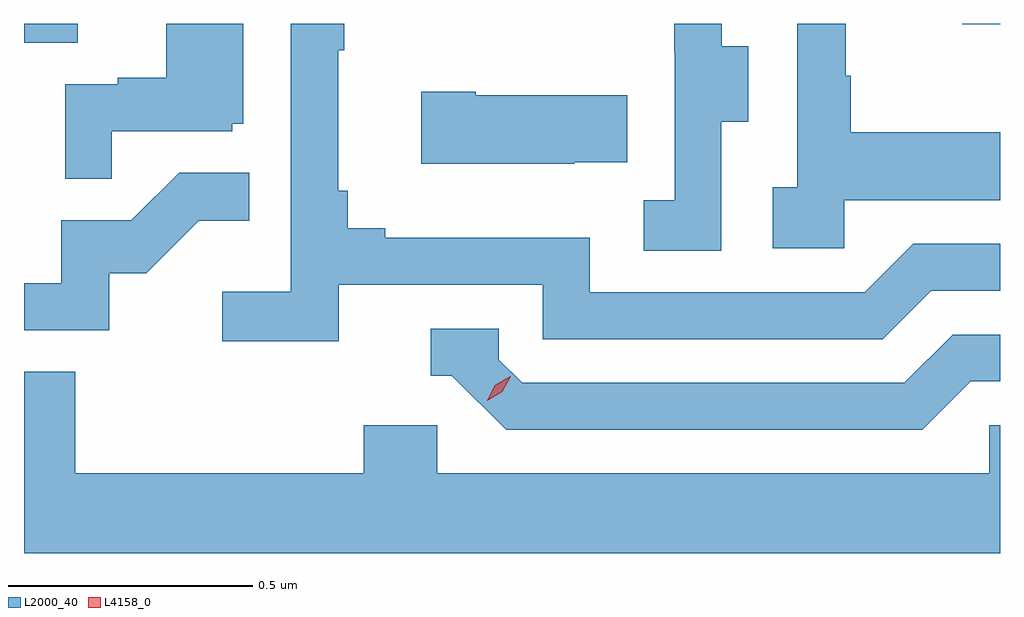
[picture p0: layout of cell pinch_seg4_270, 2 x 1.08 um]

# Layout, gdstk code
import gdstk
lib = gdstk.Library(unit=1e-6, precision=1e-09)
def R(c, l, rs):  # rectangles x0, y0, x1, y1
    for r in rs: c.add(gdstk.rectangle(r[:2], r[2:], *l))
def P(c, l, *ps):  # polygons
    for p in ps: c.add(gdstk.Polygon(p, *l))
L2000_40 = (2000, 40)
L4158_0 = (4158, 0)

pinch_seg4_270 = lib.new_cell('pinch_seg4_270')
R(pinch_seg4_270, L2000_40, [(934.061,829.834,934.171,829.873), (935.984,829.872,936.061,829.873)])
P(pinch_seg4_270, L2000_40, [(934.706,829.338),(935.124,829.338),(935.124,829.227),(935.821,829.227),(935.92,829.326),(936.061,829.326),(936.061,829.422),(935.883,829.422),(935.784,829.323),(935.22,829.323),(935.22,829.435),(934.801,829.435),(934.801,829.454),(934.724,829.454),(934.724,829.531),(934.705,829.531),(934.705,829.819),(934.717,829.819),(934.717,829.873),(934.608,829.873),(934.608,829.324),(934.467,829.324),(934.467,829.222),(934.706,829.222)],
  [(934.241,829.653),(934.488,829.653),(934.488,829.668),(934.51,829.668),(934.51,829.873),(934.352,829.873),(934.352,829.762),(934.253,829.762),(934.253,829.749),(934.146,829.749),(934.146,829.555),(934.241,829.555)],
  [(935.742,829.511),(936.061,829.511),(936.061,829.651),(935.755,829.651),(935.755,829.766),(935.745,829.766),(935.745,829.873),(935.646,829.873),(935.646,829.538),(935.595,829.538),(935.595,829.413),(935.742,829.413)],
  [(935.49,829.672),(935.545,829.672),(935.545,829.827),(935.491,829.827),(935.491,829.873),(935.393,829.873),(935.393,829.815),(935.394,829.815),(935.394,829.511),(935.331,829.511),(935.331,829.408),(935.49,829.408)],
  [(935.189,829.589),(935.297,829.589),(935.297,829.726),(934.987,829.726),(934.987,829.734),(934.875,829.734),(934.875,829.586),(935.189,829.586)],
  [(934.236,829.362),(934.312,829.362),(934.419,829.469),(934.523,829.469),(934.523,829.568),(934.379,829.568),(934.281,829.47),(934.137,829.47),(934.137,829.341),(934.061,829.341),(934.061,829.245),(934.236,829.245)],
  [(936.001,829.14),(936.061,829.14),(936.061,829.236),(935.964,829.236),(935.865,829.137),(935.082,829.137),(935.034,829.185),(935.034,829.248),(934.895,829.248),(934.895,829.152),(934.938,829.152),(935.049,829.041),(935.902,829.041)],
  [(936.061,829.05),(936.039,829.05),(936.039,828.952),(934.908,828.952),(934.908,829.05),(934.757,829.05),(934.757,828.952),(934.166,828.952),(934.166,829.16),(934.061,829.16),(934.061,828.788),(936.061,828.788)])
P(pinch_seg4_270, L4158_0, [(935.01,829.1),(935.01,829.1),(935.026,829.132),(935.057,829.151),(935.058,829.151),(935.058,829.151),(935.041,829.119),(935.01,829.1)])

lib.write_gds('pinch_seg4_270.gds')
